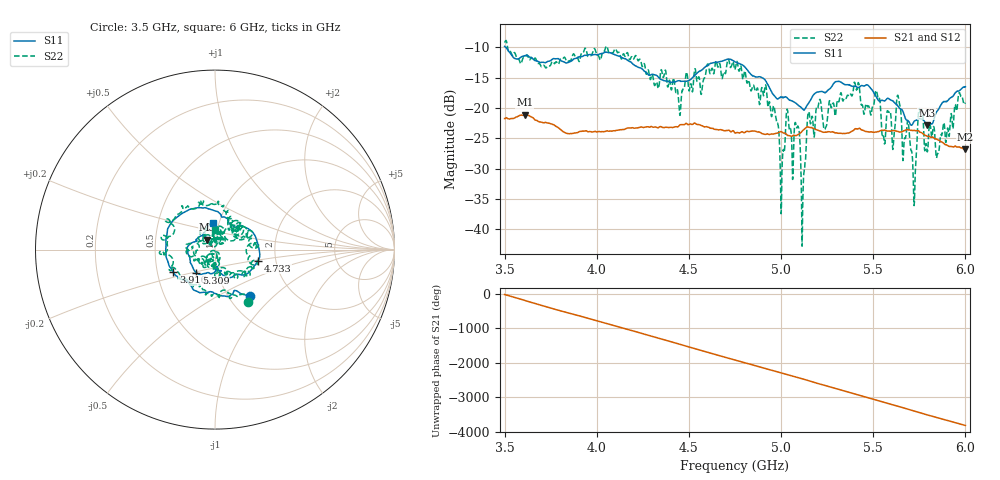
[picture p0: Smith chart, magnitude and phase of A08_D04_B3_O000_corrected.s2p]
! Created with skrf 1.9.0 (http://scikit-rf.org).
# Hz S RI R 50.0
!freq ReS11 ImS11 ReS21 ImS21 ReS12 ImS12 ReS22 ImS22
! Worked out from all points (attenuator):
!   1601 points, 3.5 GHz to 6 GHz, reference 50 ohm
!   highest |S21| = -21.14 dB at 3.609 GHz (marker M1); lowest = -26.8 dB at 6 GHz (marker M2)
!   lowest |S11| = -22.9 dB at 5.791 GHz (marker M3), VSWR 1.15, Z = 45.4 + j5.09 ohm
!   |S11| at or under -10 dB: 3.506 GHz to end of sweep
!   |S22| runs from -42.8 to -8.9 dB; largest |S21 - S12| = 0.0012
!   S11 on the Smith chart (normalised r, x): 3.5 GHz: 1.25, -0.72; 3.916 GHz: 0.61, -0.16; 4.733 GHz: 1.62, -0.21; 5.309 GHz: 0.79, -0.21; 6 GHz: 0.94, +0.29
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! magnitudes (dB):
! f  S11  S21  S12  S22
! 3.5 GHz  -9.9  -21.8  -21.7  -9.3
! 3.609 GHz  -11.4  -21.1  -21.1  -11.7
! 3.916 GHz  -11.6  -23.9  -23.8  -11.1
! 3.917 GHz  -11.6  -23.9  -23.8  -11.0
! 4.334 GHz  -15.0  -23.3  -23.2  -16.8
! 4.733 GHz  -12.1  -23.9  -23.8  -12.9
! 4.75 GHz  -12.4  -24.1  -24.0  -13.7
! 4.911 GHz  -15.3  -24.3  -24.3  -16.8
! 5.005 GHz  -18.2  -24.0  -23.9  -30.6
! 5.034 GHz  -18.4  -24.5  -24.4  -20.3
! 5.086 GHz  -19.4  -24.5  -24.5  -23.3
! 5.119 GHz  -20.2  -23.7  -23.6  -34.3
! 5.147 GHz  -19.3  -23.1  -23.1  -20.9
! 5.167 GHz  -18.3  -23.3  -23.2  -21.4
! 5.309 GHz  -15.6  -24.2  -24.1  -18.9
! 5.584 GHz  -18.5  -23.8  -23.8  -20.6
! 5.609 GHz  -18.9  -23.7  -23.6  -25.8
! 5.639 GHz  -19.9  -24.0  -23.9  -18.7
! 5.72 GHz  -22.3  -23.7  -23.6  -35.4
! 5.755 GHz  -21.8  -24.0  -23.9  -20.8
! 5.791 GHz  -22.9  -24.6  -24.5  -26.6
! 6 GHz  -16.5  -26.8  -26.7  -19.2
